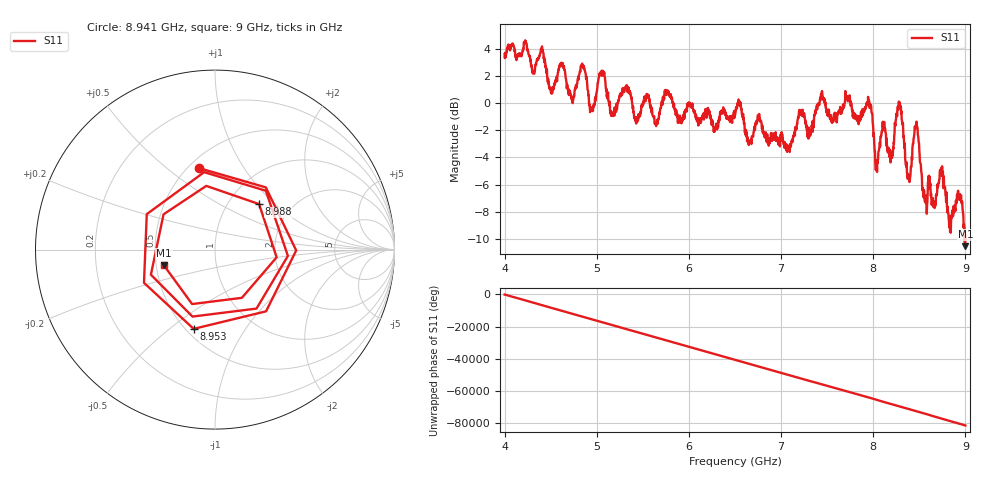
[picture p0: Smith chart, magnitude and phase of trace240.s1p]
! Created with skrf 1.8.0 (http://scikit-rf.org).
# Hz S RI R 50.0
!freq ReS11 ImS11
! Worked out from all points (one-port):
!   1601 points, 4 GHz to 9 GHz, reference 50 ohm
!   lowest |S11| = -10.5 dB at 9 GHz (marker M1), VSWR 1.85, Z = 27.5 - j5.33 ohm
!   |S11| at or under -10 dB: 8.993301 GHz to 8.995223 GHz (1.922 MHz wide, 0.0214 % of centre); 8.998192 GHz to end of sweep
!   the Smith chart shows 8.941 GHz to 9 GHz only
!   S11 on the Smith chart (normalised r, x): 8.941 GHz: 0.56, +0.65; 8.953 GHz: 0.55, -0.61; 8.988 GHz: 1.38, +0.80; 9 GHz: 0.55, -0.11
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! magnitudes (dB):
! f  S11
! 4 GHz  3.6
! 4.403 GHz  4.0
! 4.509 GHz  0.7
! 4.625 GHz  2.7
! 4.731 GHz  0.4
! 4.853 GHz  2.7
! 4.941 GHz  -0.5
! 5.053 GHz  2.0
! 5.166 GHz  -0.9
! 5.25 GHz  0.5
! 5.875 GHz  -0.8
! 6.5 GHz  -0.9
! 7.125 GHz  -2.8
! 7.75 GHz  0.1
! 7.959 GHz  0.0
! 8.041 GHz  -5.1
! 8.109 GHz  -1.5
! 8.2 GHz  -4.0
! 8.288 GHz  0.0
! 8.375 GHz  -5.5
! 8.466 GHz  -1.7
! 8.562 GHz  -7.3
! 8.731 GHz  -5.2
! 8.831 GHz  -8.3
! 8.941 GHz  -6.7
! 8.953 GHz  -6.8
! 8.988 GHz  -9.0
! 9 GHz  -10.5
